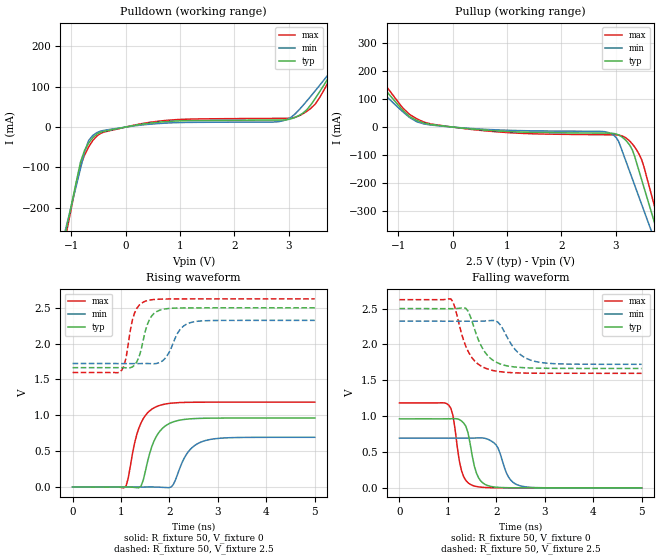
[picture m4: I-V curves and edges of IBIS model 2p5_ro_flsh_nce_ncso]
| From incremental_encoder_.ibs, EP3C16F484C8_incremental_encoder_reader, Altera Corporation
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[Model] 2p5_ro_flsh_nce_ncso
Model_type Output
Polarity Non-Inverting
Enable Active-Low
Vmeas = 1.1625V
Rref  = 10M
Cref  = 0pF
Vref  = 0V
C_comp  4.4pF   4.4pF   4.4pF
[Temperature Range] 25   85   0
[Voltage Range]   2.5   2.325   2.625
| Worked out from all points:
|   slope of the pulldown table from 0 to 0.375 V, typ, clamps not added: 43.8 ohm
|   slope of the pullup table from 0 to 0.375 V, typ, clamps not added: 50.9 ohm
|   rising waveform, R_fixture 50, V_fixture 0: 20-80 % time 300ps typ, 330ps min, 276ps max; typ from 0 V to 0.962 V
|   falling waveform, R_fixture 50, V_fixture 0: 20-80 % time 184ps typ, 229ps min, 164ps max; typ from 0.962 V to 0 V
|   rising waveform, R_fixture 50, V_fixture 2.5: 20-80 % time 206ps typ, 268ps min, 172ps max; typ from 1.67 V to 2.5 V
|   falling waveform, R_fixture 50, V_fixture 2.5: 20-80 % time 347ps typ, 383ps min, 328ps max; typ from 2.5 V to 1.67 V
[Pulldown]
| voltage   I (typ)   I (min)   I (max)
-2.5V     -1.152A    -1.021A    -1.22A
-1.136V   -281.3mA   -270.8mA   -293.7mA
-1.061V   -232.9mA   -229.1mA   -242.3mA
-909.1mV  -136.1mA   -145.7mA   -139.4mA
-757.6mV  -58.01mA   -62.31mA   -70.09mA
-530.3mV  -17.58mA   -13.7mA    -22.11mA
757.6mV   13.76mA    9.993mA    16.67mA
3.106V    23.57mA    31.37mA    23.78mA
3.485V    70.7mA     89.89mA    56.95mA
4.242V    231mA      218.3mA    240.8mA
4.47V     277.8mA    257.1mA    295mA
5V        383.4mA    347.8mA    414.7mA
[Pullup]
| voltage   I (typ)   I (min)   I (max)
-2.5V     419.9mA    353.7mA    476.4mA
-2.237V   360.1mA    303.7mA    408.5mA
-1.974V   300.2mA    253.7mA    340.5mA
-657.9mV  23.8mA     18.96mA    29.48mA
789.5mV   -13.47mA   -9.846mA   -16.57mA
3.009V    -24.89mA   -37.27mA   -28mA
3.305V    -81.19mA   -184.5mA   -60.11mA
3.475V    -186.6mA   -275mA     -115.3mA
3.644V    -296.6mA   -365.5mA   -232.4mA
3.729V    -351.6mA   -410.7mA   -293.9mA
3.814V    -406.6mA   -455.9mA   -355.5mA
5V        -1.177A    -1.089A    -1.217A
[Ramp]
dV/dt_r   5.774e-001/2.998e-010  4.160e-001/3.296e-010  7.104e-001/2.757e-010
dV/dt_f   5.010e-001/3.466e-010  3.612e-001/3.827e-010  6.168e-001/3.282e-010
R_load = 50ohms
[Rising Waveform]
R_fixture   = 50
V_fixture   = 0
V_fixture_min = 0
V_fixture_max = 0
| time   V (typ)   V (min)   V (max)
0s        0V         0V         0V
1.104ns   637.8uV    -168.6uV   15.32mV
1.37ns    -10.52mV   -163.5uV   824.5mV
1.459ns   94.96mV    -147.8uV   952.9mV
1.548ns   353.3mV    264.8uV    1.034V
1.769ns   748.7mV    -2.215mV   1.132V
2.035ns   897.4mV    -423.7uV   1.17V
2.389ns   948.7mV    492.1mV    1.181V
2.699ns   958.9mV    639.4mV    1.183V
5ns       962.4mV    693.4mV    1.184V
[Falling Waveform]
R_fixture   = 50
V_fixture   = 0
V_fixture_min = 0
V_fixture_max = 0
| time   V (typ)   V (min)   V (max)
0s        962.4mV    693.4mV    1.184V
1.016ns   963.1mV    693.5mV    1.154V
1.104ns   964.8mV    693.4mV    1.01V
1.282ns   932.5mV    693.5mV    239.3mV
1.503ns   444.2mV    694.2mV    35.31mV
1.725ns   66.66mV    695.2mV    7.071mV
1.991ns   9.753mV    603.3mV    1.112mV
2.256ns   1.59mV     146.1mV    176.9uV
2.478ns   345.7uV    31.47mV    38.38uV
5ns       1.024uV    -2.478uV   923.2nV
[Rising Waveform]
R_fixture   = 50
V_fixture   = 2.5
V_fixture_min = 2.325
V_fixture_max = 2.625
| time   V (typ)   V (min)   V (max)
0s        1.665V     1.723V     1.597V
1.016ns   1.665V     1.722V     1.63V
1.104ns   1.664V     1.722V     1.801V
1.282ns   1.7V       1.722V     2.43V
1.503ns   2.179V     1.723V     2.593V
1.769ns   2.459V     1.73V      2.62V
1.946ns   2.487V     1.827V     2.623V
2.212ns   2.498V     2.191V     2.624V
2.478ns   2.499V     2.302V     2.625V
5ns       2.5V       2.325V     2.625V
[Falling Waveform]
R_fixture   = 50
V_fixture   = 2.5
V_fixture_min = 2.325
V_fixture_max = 2.625
| time   V (typ)   V (min)   V (max)
0s        2.5V       2.325V     2.625V
1.06ns    2.499V     2.324V     2.635V
1.149ns   2.5V       2.324V     2.508V
1.415ns   2.466V     2.324V     1.908V
1.68ns    1.99V      2.325V     1.7V
1.858ns   1.819V     2.332V     1.649V
2.035ns   1.741V     2.309V     1.623V
2.389ns   1.685V     1.929V     1.604V
2.744ns   1.671V     1.774V     1.599V
5ns       1.665V     1.723V     1.597V
